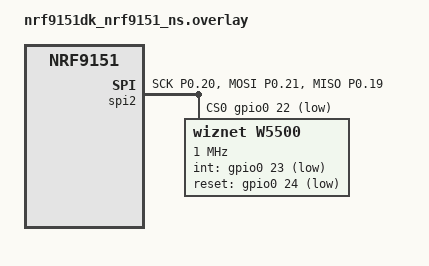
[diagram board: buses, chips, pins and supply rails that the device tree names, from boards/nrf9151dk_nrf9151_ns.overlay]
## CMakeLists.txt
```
cmake_minimum_required(VERSION 3.20.0)
find_package(Zephyr REQUIRED HINTS $ENV{ZEPHYR_BASE})

project(zephyr_socket_dispatching_eth_and_cell_example)

target_sources(app PRIVATE 
    src/main.c
    src/mqtt_api.c
    src/mqtt_custom_transport.c
)
```

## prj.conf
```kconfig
# Newlib
CONFIG_NEWLIB_LIBC=y

# Basic networking support
CONFIG_NETWORKING=y
CONFIG_NET_NATIVE=y
CONFIG_NET_IPV6=n
CONFIG_NET_IPV4=y
CONFIG_NET_TCP=y
CONFIG_NET_UDP=y
CONFIG_NET_DHCPV4=y
CONFIG_DNS_RESOLVER=y

# Socket APIs
CONFIG_NET_SOCKETS=y
CONFIG_POSIX_API=y

# Socket Dispatcher
CONFIG_NET_SOCKETS_OFFLOAD_DISPATCHER=y
CONFIG_NET_SOCKETS_OFFLOAD=y

# For Ethernet W5500
CONFIG_SPI=y # (I think) driver handles this
CONFIG_ETH_W5500=y
CONFIG_NET_L2_ETHERNET=y
CONFIG_ETH_W5500_TIMEOUT=1000

# For Cellular modem
CONFIG_MODEM=y
CONFIG_LTE_LINK_CONTROL=y
CONFIG_TRUSTED_EXECUTION_NONSECURE=y
CONFIG_NRF_MODEM_LIB=y # Requires TRUSTED_EXECUTION_NONSECURE
CONFIG_LTE_LINK_CONTROL=y # Requires the MODEM library https://github.com/nrfconnect/sdk-nrfxlib/blob/main//nrf_modem/doc/architecture.rst
CONFIG_LTE_NETWORK_MODE_LTE_M_NBIOT=y
CONFIG_LTE_LC_PSM_MODULE=y
CONFIG_LTE_LC_EDRX_MODULE=y 

# Testing and debugging
CONFIG_TEST_RANDOM_GENERATOR=y
CONFIG_INIT_STACKS=y
CONFIG_NET_SHELL=y
CONFIG_NET_STATISTICS=y #enable stats support showing in shell network diagnostics

# Logging
CONFIG_LOG=y
CONFIG_NET_LOG=y
# CONFIG_LOG_DEFAULT_LEVEL=4
# CONFIG_ETHERNET_LOG_LEVEL_DBG=y
# CONFIG_NET_TCP_LOG_LEVEL_DBG=y #enable TCP debugging logs 
# CONFIG_NET_DHCPV4_LOG_LEVEL_DBG=y
CONFIG_LOG_RUNTIME_FILTERING=y
CONFIG_NET_SOCKETS_LOG_LEVEL_DBG=y
CONFIG_NCS_BOOT_BANNER=y

# Thread stack size (guest-imated values)
CONFIG_MAIN_STACK_SIZE=4096
CONFIG_SYSTEM_WORKQUEUE_STACK_SIZE=2048
CONFIG_HEAP_MEM_POOL_SIZE=4096
CONFIG_NET_IF_MAX_IPV4_COUNT=4

# Other stuff (need to organize)
CONFIG_POSIX_MAX_FDS=8
CONFIG_NET_BUF_RX_COUNT=32
CONFIG_NET_BUF_TX_COUNT=32
CONFIG_NET_PKT_RX_COUNT=16
CONFIG_NET_PKT_TX_COUNT=16

## THIS IS ESSENTIAL FOR US TO USE CUSTOM TRANSPORT LAYER WITH MQTT 
CONFIG_MQTT_LIB=y
CONFIG_MQTT_LIB_CUSTOM_TRANSPORT=y
```

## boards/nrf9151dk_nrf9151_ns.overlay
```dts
/* boards/nrf9151dk_nrf9151_ns.overlay */

/* Disable any interfaces we're not using */
&i2c0 {
	status = "disabled";
};

&i2c2 {
	status = "disabled";
};

/* Add pinctrl configurations in the root devicetree node */
&pinctrl {
	spi2_default: spi2_default {
		group1 {
			psels = <NRF_PSEL(SPIM_SCK, 0, 20)>,  
			<NRF_PSEL(SPIM_MOSI, 0, 21)>, 
			<NRF_PSEL(SPIM_MISO, 0, 19)>; 
			// nordic,drive-mode = <NRF_DRIVE_H-1H1>;
		};
	};
	
	spi2_sleep: spi2_sleep {
		group1 {
			psels = <NRF_PSEL(SPIM_SCK, 0, 20)>,
			<NRF_PSEL(SPIM_MOSI, 0, 21)>,
			<NRF_PSEL(SPIM_MISO, 0, 19)>;
			low-power-enable;
		};
	};
};

/* Configure SPI2 for W5500 with non-conflicting pins */
&spi2 {
	compatible = "nordic,nrf-spim";
	status = "okay";
	pinctrl-0 = <&spi2_default>;
	pinctrl-1 = <&spi2_sleep>;
	pinctrl-names = "default", "sleep";
	cs-gpios = <&gpio0 22 GPIO_ACTIVE_LOW>; 
	
	w5500: w5500@0 {
		compatible = "wiznet,w5500";
		label="w5500";
		status = "okay";			
		reg = <0x0>;
		spi-max-frequency = <1000000>;
		int-gpios = <&gpio0 23 GPIO_ACTIVE_LOW>;  
		reset-gpios = <&gpio0 24 GPIO_ACTIVE_LOW>; 
		local-mac-address = [00 08 DC 00 00 01];
	};
};
```

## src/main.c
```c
/*
 * Socket Dispatcher Demo - Testing Multiple Network Interfaces with MQTT
 */

#include "mqtt_api.h"

#include <errno.h>
#include <fcntl.h> /* For O_NONBLOCK */
#include <modem/lte_lc.h>
#include <modem/nrf_modem_lib.h>
#include <stdio.h> // For snprintf
#include <string.h>
#include <zephyr/kernel.h>
#include <zephyr/logging/log.h>
#include <zephyr/net/net_if.h>
#include <zephyr/net/socket.h>

LOG_MODULE_REGISTER(socket_dispatcher_demo, LOG_LEVEL_INF);

/* Configuration */
#define UDP_SERVER_PORT 4242
#define UDP_SERVER_ADDR "8.8.8.8" /* Google's DNS server - easily accessible and accepts UDP */

#define TCP_SERVER_PORT 4242
#define TCP_SERVER_ADDR "45.79.112.203"

#define DNS_TEST_HOSTNAME "nordicsemi.com"

#define SOCKET_TIMEOUT_SEC 10
#define MODEM_CONN_TIMEOUT_SEC 60

/* LTE connection semaphore */
K_SEM_DEFINE(lte_connected, 0, 1);

/* Network interfaces */
#define IFACE_CELLULAR "net0"
#define IFACE_ETHERNET "eth0"

static struct net_mgmt_event_callback net_mgmt_cb;

/* LTE event handler */
static void lte_handler(const struct lte_lc_evt* const evt)
{
  if (evt->type == LTE_LC_EVT_NW_REG_STATUS)
  {
    if ((evt->nw_reg_status == LTE_LC_NW_REG_REGISTERED_HOME) ||
        (evt->nw_reg_status == LTE_LC_NW_REG_REGISTERED_ROAMING))
    {
      LOG_INF("Network registered");
      k_sem_give(&lte_connected);
    }
  }
}

/* Test a socket bound to a specific interface */
static int test_socket_binding(const char* iface_name)
{
  int          sock;
  int          ret;
  struct ifreq ifreq;

  LOG_INF("Testing socket creation on interface '%s'", iface_name);

  /* Create a socket */
  sock = socket(AF_INET, SOCK_DGRAM, IPPROTO_UDP);
  if (sock < 0)
  {
    LOG_ERR("Failed to create socket: %d", errno);
    return -errno;
  }

  /* Bind socket to interface */
  memset(&ifreq, 0, sizeof(ifreq));
  strncpy(ifreq.ifr_name, iface_name, sizeof(ifreq.ifr_name) - 1);

  ret = setsockopt(sock, SOL_SOCKET, SO_BINDTODEVICE, &ifreq, sizeof(ifreq));
  if (ret < 0)
  {
    LOG_ERR("Failed to bind socket to interface '%s': %d", iface_name, errno);
    close(sock);
    return -errno;
  }

  LOG_INF("Successfully created and bound socket to interface '%s'", iface_name);

  /* Close the socket */
  close(sock);
  LOG_INF("Socket closed");

  return 0;
}

/* Test UDP communication through specified interface */
static int test_udp(const char* iface_name)
{
  int                sock, ret;
  struct ifreq       ifreq;
  struct sockaddr_in remote_addr;
  char               send_buf[64]  = {0};
  char               recv_buf[128] = {0};

  snprintf(send_buf, sizeof(send_buf), "Hello from nRF9151 via %s!", iface_name);

  LOG_INF("Testing UDP through %s", iface_name);

  /* Create UDP socket */
  sock = socket(AF_INET, SOCK_DGRAM, IPPROTO_UDP);
  if (sock < 0)
  {
    LOG_ERR("Failed to create UDP socket: %d", errno);
    return -errno;
  }

  /* Bind to specified interface */
  memset(&ifreq, 0, sizeof(ifreq));
  strncpy(ifreq.ifr_name, iface_name, sizeof(ifreq.ifr_name) - 1);

  ret = setsockopt(sock, SOL_SOCKET, SO_BINDTODEVICE, &ifreq, sizeof(ifreq));
  if (ret < 0)
  {
    LOG_ERR("Failed to bind socket to %s interface: %d", iface_name, errno);
    close(sock);
    return -errno;
  }

  /* Try to set socket timeout - but handle if not supported */
  struct timeval timeout           = {.tv_sec = SOCKET_TIMEOUT_SEC, .tv_usec = 0};
  bool           timeout_supported = true;

  ret = setsockopt(sock, SOL_SOCKET, SO_RCVTIMEO, &timeout, sizeof(timeout));
  if (ret < 0)
  {
    if (errno == ENOPROTOOPT || errno == ENOTSUP)
    {
      LOG_WRN("Socket timeout not supported on %s, using poll() instead", iface_name);
      timeout_supported = false;
    }
    else
    {
      LOG_WRN("Failed to set receive timeout: %d", errno);
    }
  }

  /* Set up remote address */
  memset(&remote_addr, 0, sizeof(remote_addr));
  remote_addr.sin_family = AF_INET;
  remote_addr.sin_port   = htons(UDP_SERVER_PORT);

  ret = inet_pton(AF_INET, UDP_SERVER_ADDR, &remote_addr.sin_addr);
  if (ret != 1)
  {
    LOG_ERR("Invalid address: %s", UDP_SERVER_ADDR);
    close(sock);
    return -EINVAL;
  }

  /* Send data */
  LOG_INF("Sending UDP packet to %s:%d via %s", UDP_SERVER_ADDR, UDP_SERVER_PORT, iface_name);

  ret = sendto(
      sock, send_buf, strlen(send_buf), 0, (struct sockaddr*) &remote_addr, sizeof(remote_addr));

  if (ret < 0)
  {
    LOG_ERR("Failed to send data: %d", errno);
    close(sock);
    return -errno;
  }

  LOG_INF("Sent %d bytes", ret);

  /* Try to receive a response */
  LOG_INF("Waiting for response...");

  if (timeout_supported)
  {
    /* Use regular recv with timeout set via setsockopt */
    ret = recv(sock, recv_buf, sizeof(recv_buf) - 1, 0);

    if (ret < 0)
    {
      if (errno == EAGAIN || errno == EWOULDBLOCK)
      {
        LOG_INF("Timed out waiting for response (this is normal for DNS server)");
      }
      else
      {
        LOG_ERR("Failed to receive: %d", errno);
      }
    }
    else if (ret > 0)
    {
      recv_buf[ret] = '\0';
      LOG_INF("Received %d bytes: %s", ret, recv_buf);
    }
  }
  else
  {
    /* Use poll with manual timeout as a fallback */
    struct pollfd fds = {
        .fd     = sock,
        .events = POLLIN,
    };

    ret = poll(&fds, 1, SOCKET_TIMEOUT_SEC * 1000);

    if (ret < 0)
    {
      LOG_ERR("Poll error: %d", errno);
    }
    else if (ret == 0)
    {
      LOG_INF("Timed out waiting for response (this is normal for DNS server)");
    }
    else
    {
      ret = recv(sock, recv_buf, sizeof(recv_buf) - 1, 0);
      if (ret < 0)
      {
        LOG_ERR("Failed to receive data: %d", errno);
      }
      else if (ret > 0)
      {
        recv_buf[ret] = '\0';
        LOG_INF("Received %d bytes: %s", ret, recv_buf);
      }
    }
  }

  /* Close socket */
  close(sock);
  LOG_INF("UDP test on %s complete", iface_name);

  return 0;
}

/* Test DNS resolution through specified interface */
static int test_dns_query(const char* iface_name)
{
  int             sock, ret;
  struct ifreq    ifreq;
  struct addrinfo hints, *res;
  char            addr_str[INET6_ADDRSTRLEN];

  LOG_INF("Testing DNS resolution through %s", iface_name);

  /* Create socket (needed for DNS query) */
  sock = socket(AF_INET, SOCK_DGRAM, IPPROTO_UDP);
  if (sock < 0)
  {
    LOG_ERR("Failed to create socket: %d", errno);
    return -errno;
  }

  /* Bind to specified interface */
  memset(&ifreq, 0, sizeof(ifreq));
  strncpy(ifreq.ifr_name, iface_name, sizeof(ifreq.ifr_name) - 1);

  ret = setsockopt(sock, SOL_SOCKET, SO_BINDTODEVICE, &ifreq, sizeof(ifreq));
  if (ret < 0)
  {
    LOG_ERR("Failed to bind socket to %s interface: %d", iface_name, errno);
    close(sock);
    return -errno;
  }

  /* Perform DNS lookup */
  memset(&hints, 0, sizeof(hints));
  hints.ai_family   = AF_INET;
  hints.ai_socktype = SOCK_STREAM;

  LOG_INF("Resolving %s via %s...", DNS_TEST_HOSTNAME, iface_name);
  ret = getaddrinfo(DNS_TEST_HOSTNAME, NULL, &hints, &res);

  if (ret != 0)
  {
    LOG_ERR("getaddrinfo failed: %d", ret);
    close(sock);
    return -EIO;
  }

  /* Print resolved address */
  struct sockaddr_in* addr = (struct sockaddr_in*) res->ai_addr;
  inet_ntop(AF_INET, &addr->sin_addr, addr_str, sizeof(addr_str));

  LOG_INF("Resolved %s to %s via %s", DNS_TEST_HOSTNAME, addr_str, iface_name);

  /* Free addrinfo and close socket */
  freeaddrinfo(res);
  close(sock);

  LOG_INF("DNS test on %s complete", iface_name);
  return 0;
}

/* Test TCP communication through specified interface */
static int test_tcp(const char* iface_name)
{
  int                sock, ret;
  struct ifreq       ifreq;
  struct sockaddr_in remote_addr;
  char               send_buf[64]      = {0};
  char               recv_buf[128]     = {0};
  bool               timeout_supported = true;

  snprintf(send_buf, sizeof(send_buf), "Hello from nRF9151 via %s\n", iface_name);

  LOG_INF("Testing TCP through %s", iface_name);

  // Create socket of type TCP
  sock = socket(AF_INET, SOCK_STREAM, IPPROTO_TCP);
  if (sock < 0)
  {
    LOG_ERR("Failed to create TCP socket: %d", errno);
    return -errno;
  }

  // Bind socket to specified interface
  memset(&ifreq, 0, sizeof(ifreq));
  strncpy(ifreq.ifr_name, iface_name, sizeof(ifreq.ifr_name) - 1);

  ret = setsockopt(sock, SOL_SOCKET, SO_BINDTODEVICE, &ifreq, sizeof(ifreq));
  if (ret < 0)
  {
    LOG_ERR("Failed to bind socket to %s interface: %d", iface_name, errno);
    close(sock);
    return -errno;
  }

  // Try to set socket timeout
  struct timeval timeout = {.tv_sec = SOCKET_TIMEOUT_SEC, .tv_usec = 0};

  ret = setsockopt(sock, SOL_SOCKET, SO_RCVTIMEO, &timeout, sizeof(timeout));
  if (ret < 0)
  {
    if (errno == ENOPROTOOPT || errno == ENOTSUP)
    {
      LOG_WRN("Socket timeout not supported on %s, using poll() instead", iface_name);
      timeout_supported = false;
    }
    else
    {
      LOG_WRN("Failed to set timeout: %d", errno);
    }
  }

  // Try to set connect timeout (non-blocking connect with poll)
  // This is needed regardless of timeout support since connect() can block
  if (!timeout_supported)
  {
    int flags = fcntl(sock, F_GETFL, 0);
    if (flags < 0)
    {
      LOG_ERR("Failed to get socket flags: %d", errno);
      close(sock);
      return -errno;
    }

    ret = fcntl(sock, F_SETFL, flags | O_NONBLOCK);
    if (ret < 0)
    {
      LOG_ERR("Failed to set socket non-blocking: %d", errno);
      close(sock);
      return -errno;
    }
  }

  // Setup remote address
  memset(&remote_addr, 0, sizeof(remote_addr));
  remote_addr.sin_family = AF_INET;
  remote_addr.sin_port   = htons(TCP_SERVER_PORT);

  ret = inet_pton(AF_INET, TCP_SERVER_ADDR, &remote_addr.sin_addr);
  if (ret != 1)
  {
    LOG_ERR("Invalid address: %s", TCP_SERVER_ADDR);
    close(sock);
    return -EINVAL;
  }

  // Connect to server
  LOG_INF("Connecting to TCP server %s:%d via %s...", TCP_SERVER_ADDR, TCP_SERVER_PORT, iface_name);

  ret = connect(sock, (struct sockaddr*) &remote_addr, sizeof(remote_addr));

  if (ret < 0)
  {
    if (!timeout_supported && (errno == EINPROGRESS || errno == EAGAIN || errno == EWOULDBLOCK))
    {
      // This is expected for non-blocking connect - use poll to wait
      struct pollfd fds = {
          .fd     = sock,
          .events = POLLOUT,
      };

      ret = poll(&fds, 1, SOCKET_TIMEOUT_SEC * 1000);

      if (ret < 0)
      {
        LOG_ERR("Poll error during connect: %d", errno);
        close(sock);
        return -errno;
      }
      else if (ret == 0)
      {
        LOG_ERR("Connection timeout");
        close(sock);
        return -ETIMEDOUT;
      }
      else
      {
        // Check if connection was successful
        int       err;
        socklen_t err_len = sizeof(err);
        ret               = getsockopt(sock, SOL_SOCKET, SO_ERROR, &err, &err_len);

        if (ret < 0 || err != 0)
        {
          LOG_ERR("Connection failed: %d", err != 0 ? err : errno);
          close(sock);
          return -EIO;
        }

        // Set back to blocking mode for data transfer
        int flags = fcntl(sock, F_GETFL, 0);
        if (flags >= 0)
        {
          fcntl(sock, F_SETFL, flags & ~O_NONBLOCK);
        }
      }
    }
    else
    {
      LOG_ERR("Failed to connect to TCP server: %d", errno);
      close(sock);
      return -errno;
    }
  }

  LOG_INF("Connected to TCP server");

  // Send data
  ret = send(sock, send_buf, strlen(send_buf), 0);
  if (ret < 0)
  {
    LOG_ERR("Failed to send: %d", errno);
    close(sock);
    return -errno;
  }
  else
  {
    LOG_INF("Sent message to TCP server. Awaiting response...");
  }

  // Wait to receive response
  if (timeout_supported)
  {
    // Use regular recv with timeout set via setsockopt
    ret = recv(sock, recv_buf, sizeof(recv_buf) - 1, 0);

    if (ret < 0)
    {
      LOG_ERR("Failed to receive: %d", errno);
    }
    else if (ret > 0)
    {
      recv_buf[ret] = '\0';
      LOG_INF("Received %d bytes: %s", ret, recv_buf);
    }
    else
    {
      LOG_INF("Connection closed by server");
    }
  }
  else
  {
    // Use poll with manual timeout
    struct pollfd fds = {
        .fd     = sock,
        .events = POLLIN,
    };

    ret = poll(&fds, 1, SOCKET_TIMEOUT_SEC * 1000);

    if (ret < 0)
    {
      LOG_ERR("Poll error: %d", errno);
    }
    else if (ret == 0)
    {
      LOG_INF("Receive timeout");
    }
    else
    {
      ret = recv(sock, recv_buf, sizeof(recv_buf) - 1, 0);
      if (ret < 0)
      {
        LOG_ERR("Failed to receive data: %d", errno);
      }
      else if (ret > 0)
      {
        recv_buf[ret] = '\0';
        LOG_INF("Received %d bytes: %s", ret, recv_buf);
      }
      else
      {
        LOG_INF("Connection closed by server");
      }
    }
  }

  // Close socket
  close(sock);
  LOG_INF("TCP test on %s complete", iface_name);

  return 0;
}

/* Initialize modem */
static int init_modem(void)
{
  int err;

  LOG_INF("Initializing modem library");
  err = nrf_modem_lib_init();
  if (err)
  {
    LOG_ERR("Failed to initialize modem library: %d", err);
    return err;
  }

  LOG_INF("Connecting to LTE network asynchronously");
  err = lte_lc_connect_async(lte_handler);
  if (err)
  {
    LOG_ERR("Failed to initiate LTE connection: %d", err);
    return err;
  }

  LOG_INF("Waiting for LTE connection (%d seconds timeout)", MODEM_CONN_TIMEOUT_SEC);
  err = k_sem_take(&lte_connected, K_SECONDS(MODEM_CONN_TIMEOUT_SEC));
  if (err)
  {
    LOG_WRN("Timed out waiting for LTE connection");
    return -ETIMEDOUT;
  }

  LOG_INF("LTE connected successfully");
  return 0;
}

/* Print modem status information */
static void print_modem_status(void)
{
  int                       err;
  enum lte_lc_nw_reg_status reg_status;
  enum lte_lc_func_mode     func_mode;

  /* Get network registration status */
  err = lte_lc_nw_reg_status_get(&reg_status);
  if (err)
  {
    LOG_ERR("LTE: Failed to get network registration status: %d", err);
  }
  else
  {
    LOG_INF("LTE: Network registration status: %d", reg_status);
  }

  /* Get functional mode */
  err = lte_lc_func_mode_get(&func_mode);
  if (err)
  {
    LOG_ERR("Failed to get functional mode: %d", err);
  }
  else
  {
    LOG_INF("LTE: Functional mode: %d", func_mode);
  }

  /* Get system mode */
  enum lte_lc_system_mode            mode;
  enum lte_lc_system_mode_preference preference;

  err = lte_lc_system_mode_get(&mode, &preference);
  if (err)
  {
    LOG_ERR("LTE: Failed to get system mode: %d", err);
  }
  else
  {
    LOG_INF("LTE: System mode: %d, preference: %d", mode, preference);
  }
}

static void start_dhcpv4_client(struct net_if* iface, void* user_data)
{
  ARG_UNUSED(user_data);

  LOG_INF(
      "Starting DHCP on %s: index=%d", net_if_get_device(iface)->name, net_if_get_by_iface(iface));
  net_dhcpv4_start(iface);
}

static void print_dhcpv4_info(struct net_if* iface, int i)
{
  char buf[NET_IPV4_ADDR_LEN];

  LOG_INF("    Address[%d]: %s",
          net_if_get_by_iface(iface),
          net_addr_ntop(
              AF_INET, &iface->config.ip.ipv4->unicast[i].ipv4.address.in_addr, buf, sizeof(buf)));

  LOG_INF("    Subnet[%d]: %s",
          net_if_get_by_iface(iface),
          net_addr_ntop(AF_INET, &iface->config.ip.ipv4->unicast[i].netmask, buf, sizeof(buf)));

  LOG_INF("    Router[%d]: %s",
          net_if_get_by_iface(iface),
          net_addr_ntop(AF_INET, &iface->config.ip.ipv4->gw, buf, sizeof(buf)));

  if (iface->config.dhcpv4.lease_time)
  {
    LOG_INF(
        "Lease time[%d]: %u seconds", net_if_get_by_iface(iface), iface->config.dhcpv4.lease_time);
  }
}

static void
network_mgmt_handler(struct net_mgmt_event_callback* cb, uint32_t mgmt_event, struct net_if* iface)
{
  int i = 0;

  if (mgmt_event != NET_EVENT_IPV4_ADDR_ADD)
  {
    return;
  }

  LOG_INF("IPv4 address added to interface %d", net_if_get_by_iface(iface));

  for (i = 0; i < NET_IF_MAX_IPV4_ADDR; i++)
  {
    if (iface->config.ip.ipv4->unicast[i].ipv4.addr_type != NET_ADDR_DHCP)
    {
      continue;
    }
    print_dhcpv4_info(iface, i);
  }
}

/* Run all tests for a given interface */
static void run_interface_tests(const char* iface_name)
{
  int err;

  LOG_INF("==========================================");
  LOG_INF("Starting tests for interface: %s", iface_name);
  LOG_INF("==========================================");

  /* Test socket binding */
  err = test_socket_binding(iface_name);
  if (err)
  {
    LOG_WRN("Socket binding test for %s failed: %d", iface_name, err);
    /* Continue with other tests anyway */
  }

  /* Test UDP communication */
  err = test_udp(iface_name);
  if (err)
  {
    LOG_WRN("UDP test for %s failed: %d", iface_name, err);
  }

  /* Test DNS resolution */
  err = test_dns_query(iface_name);
  if (err)
  {
    LOG_WRN("DNS test for %s failed: %d", iface_name, err);
  }

  /* Test TCP communication */
  err = test_tcp(iface_name);
  if (err)
  {
    LOG_WRN("TCP test for %s failed: %d", iface_name, err);
  }

  LOG_INF("==========================================");
  LOG_INF("Tests for interface %s completed", iface_name);
  LOG_INF("==========================================\n");
}

/* Test MQTT functionality on specified interface */
static int test_mqtt_interface(const char* iface_name)
{
  int      err;
  uint32_t message_counter = 0;

  LOG_INF("==========================================");
  LOG_INF("Starting MQTT test on interface: %s", iface_name);
  LOG_INF("==========================================");

  /* Test basic socket binding first */
  err = test_socket_binding(iface_name);
  if (err)
  {
    LOG_ERR("Socket binding test failed for %s: %d", iface_name, err);
    return err;
  }

  /* Connect to MQTT broker */
  err = mqtt_api_connect(iface_name);
  if (err)
  {
    LOG_ERR("Failed to connect to MQTT broker via %s: %d", iface_name, err);
    return err;
  }

  LOG_INF("MQTT connected successfully via %s", iface_name);

  /* Publish a few test messages */
  for (int i = 0; i < 3; i++)
  {
    err = mqtt_api_publish_status(++message_counter);
    if (err)
    {
      LOG_ERR("Failed to publish message %d: %d", message_counter, err);
    }
    else
    {
      LOG_INF("Published message %d successfully", message_counter);
    }

    /* Process MQTT input and keepalive */
    mqtt_api_process_input();
    mqtt_api_handle_keepalive();

    /* Wait between messages */
    k_sleep(K_SECONDS(5));
  }

  LOG_INF("==========================================");
  LOG_INF("MQTT test on interface %s completed", iface_name);
  LOG_INF("==========================================\n");

  return 0;
}

int main(void)
{
  int      err;
  uint32_t publish_counter   = 0;
  uint64_t next_publish_time = 0;

  LOG_INF("Socket Dispatcher Demo - Testing Multiple Network Interfaces with MQTT");
  k_msleep(1000);

  /* Initialize MQTT API */
  err = mqtt_api_init();
  if (err)
  {
    LOG_ERR("Failed to initialize MQTT API: %d", err);
    return err;
  }

  /* Setup DHCP for all interfaces */
  struct net_if* iface = net_if_get_default();
  net_mgmt_init_event_callback(&net_mgmt_cb, network_mgmt_handler, NET_EVENT_IPV4_ADDR_ADD);
  net_mgmt_add_event_callback(&net_mgmt_cb);
  start_dhcpv4_client(iface, NULL);

  /* Initialize modem */
  err = init_modem();
  if (err)
  {
    LOG_WRN("Modem initialization failed or timed out: %d", err);
    LOG_INF("Continuing with Ethernet interface only...");
  }
  else
  {
    /* Print modem status */
    print_modem_status();
  }

  /* Wait for interfaces to initialize and get IP addresses */
  LOG_INF("Waiting for interfaces to initialize...");
  k_sleep(K_SECONDS(5));

  // /* Run basic interface tests on cellular if available */
  // if (err == 0)
  // {
  //   run_interface_tests(IFACE_CELLULAR);
  // }

  // /* Run basic interface tests on Ethernet */
  // run_interface_tests(IFACE_ETHERNET);

  /* Test MQTT on Ethernet interface */
  LOG_INF("\n*** Starting MQTT Demo ***");
  err = test_mqtt_interface(IFACE_ETHERNET);
  if (err)
  {
    LOG_ERR("MQTT test failed on Ethernet interface: %d", err);
  }

  return 0;
}
```

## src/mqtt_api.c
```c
/*
 * MQTT API Implementation
 * Provides interface for MQTT operations with interface binding support
 */

#include "mqtt_api.h"

#include "mqtt_custom_transport.h"

#include <errno.h>
#include <stdio.h>
#include <string.h>
#include <zephyr/kernel.h>
#include <zephyr/logging/log.h>
#include <zephyr/net/net_if.h>
#include <zephyr/net/socket.h>
#include <zephyr/random/random.h>

LOG_MODULE_REGISTER(mqtt_api, LOG_LEVEL_DBG);

/* MQTT Configuration */
#define MQTT_CLIENT_ID_PREFIX "nrf9151_demo"
#define MQTT_KEEPALIVE_SEC 60
#define MQTT_CLEAN_SESSION 1
#define MQTT_RX_BUFFER_SIZE 512
#define MQTT_TX_BUFFER_SIZE 512
#define MQTT_PAYLOAD_BUFFER_SIZE 256

/* MQTT Client State */
static struct mqtt_client           mqtt_client_ctx;
static struct custom_transport_data mqtt_transport_data;
static bool                         mqtt_connected              = false;
static char                         current_interface[IFNAMSIZ] = {0};

/* MQTT Buffers */
static uint8_t mqtt_rx_buffer[MQTT_RX_BUFFER_SIZE];
static uint8_t mqtt_tx_buffer[MQTT_TX_BUFFER_SIZE];
static uint8_t mqtt_payload_buffer[MQTT_PAYLOAD_BUFFER_SIZE];

/* Semaphores */
static K_SEM_DEFINE(mqtt_conn_sem, 0, 1);

/**
 * @brief Generate unique client ID based on device info
 */
static void generate_client_id(char* client_id, size_t max_len)
{
  /* Try to use MAC address from default interface */
  struct net_if* iface = net_if_get_default();

  if (iface && iface->if_dev && iface->if_dev->link_addr.addr)
  {
    const uint8_t* mac = iface->if_dev->link_addr.addr;
    snprintf(client_id, max_len, "%s_%02x%02x%02x", MQTT_CLIENT_ID_PREFIX, mac[3], mac[4], mac[5]);
  }
  else
  {
    /* Fallback to random ID */
    snprintf(client_id, max_len, "%s_%08x", MQTT_CLIENT_ID_PREFIX, sys_rand32_get());
  }

  LOG_INF("Generated MQTT client ID: %s", client_id);
}

/**
 * @brief MQTT event handler
 */
static void mqtt_evt_handler(struct mqtt_client* client, const struct mqtt_evt* evt)
{
  LOG_INF("MQTT event received: type=%d, result=%d", evt->type, evt->result);

  switch (evt->type)
  {
    case MQTT_EVT_CONNACK:
      if (evt->result == 0)
      {
        LOG_INF("MQTT client connected successfully!");
        mqtt_connected = true;
        k_sem_give(&mqtt_conn_sem);
      }
      else
      {
        LOG_ERR("MQTT connection rejected by broker: %d", evt->result);
        mqtt_connected = false;
        k_sem_give(&mqtt_conn_sem); // Still signal to unblock waiting thread
      }
      break;

    case MQTT_EVT_DISCONNECT:
      LOG_WRN("MQTT client disconnected: %d", evt->result);
      mqtt_connected = false;
      k_sem_take(&mqtt_conn_sem, K_NO_WAIT); // Reset semaphore
      break;

    case MQTT_EVT_PUBLISH:
      LOG_INF("MQTT publish received on topic");
      /* Note: Payload needs to be read separately with mqtt_read_publish_payload */
      break;

    case MQTT_EVT_PUBACK:
      LOG_DBG("MQTT PUBACK received for message ID: %d", evt->param.puback.message_id);
      break;

    case MQTT_EVT_SUBACK:
      LOG_INF("MQTT SUBACK received for message ID: %d", evt->param.suback.message_id);
      break;

    case MQTT_EVT_PINGRESP:
      LOG_DBG("MQTT PINGRESP received");
      break;

    default:
      LOG_DBG("MQTT event type: %d", evt->type);
      break;
  }
}

/**
 * @brief Setup broker address from hostname or IP
 */
static int
setup_broker_address(struct sockaddr_in* broker_addr, const char* hostname, uint16_t port)
{
  /* First try to parse as IP address directly */
  memset(broker_addr, 0, sizeof(*broker_addr));
  broker_addr->sin_family = AF_INET;
  broker_addr->sin_port   = htons(port);

  int ret = inet_pton(AF_INET, hostname, &broker_addr->sin_addr);
  if (ret == 1)
  {
    /* Successfully parsed as IP address */
    char addr_str[INET_ADDRSTRLEN];
    inet_ntop(AF_INET, &broker_addr->sin_addr, addr_str, sizeof(addr_str));
    LOG_INF("Using IP address %s:%d for broker", addr_str, port);
    return 0;
  }

  /* Not an IP address, try DNS resolution */
  struct addrinfo hints, *result;
  memset(&hints, 0, sizeof(hints));
  hints.ai_family   = AF_INET;
  hints.ai_socktype = SOCK_STREAM;

  ret = getaddrinfo(hostname, NULL, &hints, &result);
  if (ret != 0)
  {
    LOG_ERR("getaddrinfo failed for %s: %d", hostname, ret);

    /* Fallback to hardcoded IP for broker.hivemq.com */
    if (strcmp(hostname, "broker.hivemq.com") == 0)
    {
      LOG_WRN("DNS failed, using fallback IP 18.185.216.207 for broker.hivemq.com");
      ret = inet_pton(AF_INET, "18.185.216.207", &broker_addr->sin_addr);
      if (ret == 1)
      {
        return 0;
      }
    }

    return -EHOSTUNREACH;
  }

  if (result == NULL)
  {
    LOG_ERR("No addresses found for %s", hostname);
    return -ENOENT;
  }

  /* Copy the resolved address */
  memcpy(broker_addr, result->ai_addr, sizeof(struct sockaddr_in));
  broker_addr->sin_port = htons(port);

  char addr_str[INET_ADDRSTRLEN];
  inet_ntop(AF_INET, &broker_addr->sin_addr, addr_str, sizeof(addr_str));
  LOG_INF("Resolved %s to %s:%d", hostname, addr_str, port);

  freeaddrinfo(result);
  return 0;
}

int mqtt_api_init(void)
{
  LOG_INF("Initializing MQTT API");

  /* Reset connection state */
  mqtt_connected = false;
  memset(current_interface, 0, sizeof(current_interface));

  LOG_INF("MQTT API initialized successfully");
  return 0;
}

int mqtt_api_connect(const char* interface_name)
{
  int                       ret;
  static struct sockaddr_in broker_addr;
  static char               client_id[64];

  if (interface_name == NULL)
  {
    LOG_ERR("Invalid interface name");
    return -EINVAL;
  }

  if (mqtt_connected)
  {
    LOG_WRN("MQTT already connected, disconnecting first");
    mqtt_api_disconnect();
  }

  LOG_INF("Connecting to MQTT broker via interface: %s", interface_name);

  /* Setup broker address */
  ret = setup_broker_address(&broker_addr, MQTT_BROKER_HOSTNAME, MQTT_BROKER_PORT);
  if (ret)
  {
    LOG_ERR("Failed to setup broker address: %d", ret);
    return ret;
  }

  /* Initialize MQTT client with custom transport */
  ret = mqtt_client_init_with_interface(&mqtt_client_ctx, interface_name, &mqtt_transport_data);
  if (ret)
  {
    LOG_ERR("Failed to initialize MQTT client: %d", ret);
    return ret;
  }

  /* Generate client ID */
  generate_client_id(client_id, sizeof(client_id));

  /* Configure MQTT client parameters */
  mqtt_client_ctx.broker           = (struct sockaddr*) &broker_addr;
  mqtt_client_ctx.evt_cb           = mqtt_evt_handler;
  mqtt_client_ctx.client_id.utf8   = (uint8_t*) client_id;
  mqtt_client_ctx.client_id.size   = strlen(client_id);
  mqtt_client_ctx.protocol_version = MQTT_VERSION_3_1_1;
  mqtt_client_ctx.clean_session    = MQTT_CLEAN_SESSION;
  mqtt_client_ctx.keepalive        = MQTT_KEEPALIVE_SEC;

  /* Optional: Set user credentials (leave NULL for anonymous) */
  mqtt_client_ctx.user_name = NULL;
  mqtt_client_ctx.password  = NULL;

  /* Set up buffers */
  mqtt_client_ctx.rx_buf      = mqtt_rx_buffer;
  mqtt_client_ctx.rx_buf_size = sizeof(mqtt_rx_buffer);
  mqtt_client_ctx.tx_buf      = mqtt_tx_buffer;
  mqtt_client_ctx.tx_buf_size = sizeof(mqtt_tx_buffer);

  /* Connect to broker */
  LOG_INF("Sending MQTT CONNECT packet to broker...");
  ret = mqtt_connect(&mqtt_client_ctx);
  if (ret)
  {
    LOG_ERR("Failed to initiate MQTT connection: %d", ret);
    return ret;
  }

  /* Wait for connection to complete with longer timeout */
  LOG_INF("Waiting for MQTT CONNACK...");

  /* Process MQTT input while waiting for CONNACK */
  for (int i = 0; i < 60; i++)
  { // Wait up to 60 seconds
    /* Process any incoming MQTT messages */
    mqtt_input(&mqtt_client_ctx);

    /* Check if we got the CONNACK */
    if (k_sem_take(&mqtt_conn_sem, K_MSEC(100)) == 0)
    {
      /* Got CONNACK, check if connection was successful */
      if (mqtt_connected)
      {
        break;
      }
      else
      {
        LOG_ERR("MQTT connection was rejected by broker");
        return -ECONNREFUSED;
      }
    }

    /* Small delay between checks */
    k_sleep(K_MSEC(900)); // Total 1 second per loop
  }

  if (!mqtt_connected)
  {
    LOG_ERR("MQTT connection timeout - no CONNACK received");
    mqtt_api_disconnect(); // Clean up
    return -ETIMEDOUT;
  }

  /* Store current interface */
  strncpy(current_interface, interface_name, sizeof(current_interface) - 1);

  LOG_INF("MQTT connected successfully via interface: %s", interface_name);
  return 0;
}

int mqtt_api_disconnect(void)
{
  int ret;

  if (!mqtt_connected)
  {
    LOG_WRN("MQTT not connected");
    return 0;
  }

  LOG_INF("Disconnecting from MQTT broker");

  ret = mqtt_disconnect(&mqtt_client_ctx, NULL);
  if (ret)
  {
    LOG_ERR("Failed to disconnect from MQTT broker: %d", ret);
  }

  mqtt_connected = false;
  memset(current_interface, 0, sizeof(current_interface));

  LOG_INF("MQTT disconnected");
  return ret;
}

bool mqtt_api_is_connected(void)
{
  return mqtt_connected;
}

int mqtt_api_publish(const char*    topic,
                     const uint8_t* payload,
                     size_t         payload_len,
                     enum mqtt_qos  qos)
{
  int                       ret;
  struct mqtt_publish_param param;
  static uint16_t           message_id = 1;

  if (!mqtt_connected)
  {
    LOG_ERR("MQTT not connected");
    return -ENOTCONN;
  }

  if (topic == NULL || payload == NULL)
  {
    LOG_ERR("Invalid parameters");
    return -EINVAL;
  }

  /* Set up publish parameters */
  memset(&param, 0, sizeof(param));
  param.message.topic.topic.utf8 = (uint8_t*) topic;
  param.message.topic.topic.size = strlen(topic);
  param.message.topic.qos        = qos;
  param.message.payload.data     = (uint8_t*) payload;
  param.message.payload.len      = payload_len;
  param.message_id               = message_id++;
  param.dup_flag                 = 0;
  param.retain_flag              = 0;

  LOG_INF("Publishing message to topic '%s' (QoS %d, %zu bytes)", topic, qos, payload_len);
  LOG_DBG("Payload: %.*s", (int) payload_len, payload);

  ret = mqtt_publish(&mqtt_client_ctx, &param);
  if (ret)
  {
    LOG_ERR("Failed to publish MQTT message: %d", ret);
    return ret;
  }

  LOG_INF("Message published successfully (ID: %d)", param.message_id);
  return 0;
}

int mqtt_api_publish_status(uint32_t message_id)
{
  char payload[128];
  int  len;

  if (!mqtt_connected)
  {
    LOG_ERR("MQTT not connected");
    return -ENOTCONN;
  }

  /* Create JSON status message */
  len = snprintf(payload,
                 sizeof(payload),
                 "{"
                 "\"message_id\":%u,"
                 "\"timestamp\":%lld,"
                 "\"device\":\"nRF9151\","
                 "\"interface\":\"%s\","
                 "\"uptime\":%lld,"
                 "}",
                 message_id,
                 k_uptime_get(),
                 current_interface,
                 k_uptime_get() / 1000);

  if (len >= sizeof(payload))
  {
    LOG_WRN("Status message truncated");
    len = sizeof(payload) - 1;
  }

  char topic[32];
  snprintf(topic, sizeof(topic), "%s/status", MQTT_TOPIC_PREFIX);

  return mqtt_api_publish(topic, (uint8_t*) payload, len, MQTT_QOS_1_AT_LEAST_ONCE);
}

int mqtt_api_process_input(void)
{
  int ret;

  if (!mqtt_connected)
  {
    return -ENOTCONN;
  }

  ret = mqtt_input(&mqtt_client_ctx);
  if (ret && ret != -EAGAIN)
  {
    LOG_ERR("MQTT input error: %d", ret);
    mqtt_connected = false;
  }

  return ret;
}

int mqtt_api_handle_keepalive(void)
{
  int ret;

  if (!mqtt_connected)
  {
    return -ENOTCONN;
  }

  ret = mqtt_live(&mqtt_client_ctx);
  if (ret && ret != -EAGAIN)
  {
    LOG_ERR("MQTT keepalive error: %d", ret);
    mqtt_connected = false;
  }

  return ret;
}

const char* mqtt_api_get_interface(void)
{
  if (!mqtt_connected || strlen(current_interface) == 0)
  {
    return NULL;
  }
  return current_interface;
}
```

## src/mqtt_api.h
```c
/*
 * MQTT API Header
 * Provides interface for MQTT operations with interface binding support
 */

#pragma once

#include <stdbool.h>
#include <stdint.h>
#include <zephyr/net/mqtt.h>

/* MQTT Configuration */
#define MQTT_BROKER_HOSTNAME "broker.hivemq.com"
#define MQTT_BROKER_PORT 1883
#define MQTT_TOPIC_PREFIX "nrf9151/demo"
#define MQTT_PUBLISH_INTERVAL_SEC 30

/* MQTT API Functions */

/**
 * @brief Initialize MQTT subsystem
 *
 * @return 0 on success, negative error code on failure
 */
int mqtt_api_init(void);

/**
 * @brief Connect to MQTT broker using specified interface
 *
 * @param interface_name Network interface name (e.g., "eth0", "net0")
 * @return 0 on success, negative error code on failure
 */
int mqtt_api_connect(const char* interface_name);

/**
 * @brief Disconnect from MQTT broker
 *
 * @return 0 on success, negative error code on failure
 */
int mqtt_api_disconnect(void);

/**
 * @brief Check if MQTT client is connected
 *
 * @return true if connected, false otherwise
 */
bool mqtt_api_is_connected(void);

/**
 * @brief Publish a message to a topic
 *
 * @param topic Topic to publish to
 * @param payload Message payload
 * @param payload_len Length of payload
 * @param qos Quality of Service level
 * @return 0 on success, negative error code on failure
 */
int mqtt_api_publish(const char*    topic,
                     const uint8_t* payload,
                     size_t         payload_len,
                     enum mqtt_qos  qos);

/**
 * @brief Publish a JSON formatted device status message
 *
 * @param message_id Unique message identifier
 * @return 0 on success, negative error code on failure
 */
int mqtt_api_publish_status(uint32_t message_id);

/**
 * @brief Process MQTT input (should be called regularly)
 *
 * @return 0 on success, negative error code on failure
 */
int mqtt_api_process_input(void);

/**
 * @brief Handle MQTT keepalive (should be called regularly)
 *
 * @return 0 on success, negative error code on failure
 */
int mqtt_api_handle_keepalive(void);

/**
 * @brief Get the current interface name being used
 *
 * @return Interface name string, or NULL if not connected
 */
const char* mqtt_api_get_interface(void);
```

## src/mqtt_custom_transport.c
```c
/*
 * Custom MQTT Transport with Interface Binding
 *
 * This implementation provides the required custom transport functions
 * for Zephyr MQTT library with interface binding support.
 *
 * To use this:
 * 1. Enable CONFIG_MQTT_LIB_CUSTOM_TRANSPORT in your project configuration
 * 2. Set client->transport.type = MQTT_TRANSPORT_CUSTOM
 * 3. Store interface name in client->transport.custom_transport_data
 */

#include "mqtt_custom_transport.h"

#include <zephyr/logging/log.h>

LOG_MODULE_REGISTER(mqtt_custom_transport, CONFIG_MQTT_LOG_LEVEL);

// NOTE - MUST BE DEFINED IN HEADER SO OTHER CODE CAN USE THIS STRUCT
// /* Structure to hold our custom transport data */
// struct custom_transport_data
// {
//   int  sock;
//   char interface_name[IFNAMSIZ];
// };

/**
 * Custom transport connect function with interface binding
 * This function is called by the MQTT library when transport.type = MQTT_TRANSPORT_CUSTOM
 */
int mqtt_client_custom_transport_connect(struct mqtt_client* client)
{
  if (client == NULL)
  {
    LOG_ERR("MQTT client is NULL");
    return -EINVAL;
  }

  const struct sockaddr* broker = client->broker;
  if (broker == NULL)
  {
    LOG_ERR("Broker address is NULL");
    return -EINVAL;
  }

  struct custom_transport_data* custom_data =
      (struct custom_transport_data*) client->transport.custom_transport_data;

  if (custom_data == NULL)
  {
    LOG_ERR("Custom transport data not initialized");
    return -EINVAL;
  }

  LOG_INF("Creating custom transport connection to broker with interface: %s",
          custom_data->interface_name);

  // Create socket
  int sock = zsock_socket(broker->sa_family, SOCK_STREAM, IPPROTO_TCP);
  if (sock < 0)
  {
    LOG_ERR("Failed to create socket: %d", errno);
    return -errno;
  }

  LOG_DBG("Created socket: %d", sock);

  // Bind socket to specified interface
  struct ifreq ifreq;
  memset(&ifreq, 0, sizeof(ifreq));
  strncpy(ifreq.ifr_name, custom_data->interface_name, sizeof(ifreq.ifr_name) - 1);

  int ret = zsock_setsockopt(sock, SOL_SOCKET, SO_BINDTODEVICE, &ifreq, sizeof(ifreq));
  if (ret < 0)
  {
    LOG_ERR("Failed to bind socket to interface %s: %d", custom_data->interface_name, errno);
    zsock_close(sock);
    return -errno;
  }

  LOG_DBG("Successfully bound socket %d to interface: %s", sock, custom_data->interface_name);

  // Connect to broker
  size_t peer_addr_size = sizeof(struct sockaddr_in6);
  if (broker->sa_family == AF_INET)
  {
    peer_addr_size = sizeof(struct sockaddr_in);
  }

  ret = zsock_connect(sock, broker, peer_addr_size);
  if (ret < 0)
  {
    LOG_ERR("Failed to connect to broker: %d", errno);
    zsock_close(sock);
    return -errno;
  }

  // Store the socket in our custom data
  custom_data->sock = sock;

  LOG_INF("Successfully connected to MQTT broker via interface %s (socket %d)",
          custom_data->interface_name,
          sock);

  return 0;
}

/**
 * Custom transport write function
 */
int mqtt_client_custom_transport_write(struct mqtt_client* client,
                                       const uint8_t*      data,
                                       uint32_t            datalen)
{
  if (client == NULL || data == NULL)
  {
    return -EINVAL;
  }

  struct custom_transport_data* custom_data =
      (struct custom_transport_data*) client->transport.custom_transport_data;

  if (custom_data == NULL || custom_data->sock < 0)
  {
    LOG_ERR("Invalid custom transport data or socket");
    return -EINVAL;
  }

  uint32_t offset = 0U;
  int      ret;

  while (offset < datalen)
  {
    ret = zsock_send(custom_data->sock, data + offset, datalen - offset, 0);
    if (ret < 0)
    {
      LOG_ERR("Socket send failed: %d", errno);
      return -errno;
    }
    offset += ret;
  }

  LOG_DBG("Sent %u bytes via custom transport", datalen);
  return 0;
}

/**
 * Custom transport write message function
 */
int mqtt_client_custom_transport_write_msg(struct mqtt_client* client, const struct msghdr* message)
{
  if (client == NULL || message == NULL)
  {
    return -EINVAL;
  }

  struct custom_transport_data* custom_data =
      (struct custom_transport_data*) client->transport.custom_transport_data;

  if (custom_data == NULL || custom_data->sock < 0)
  {
    LOG_ERR("Invalid custom transport data or socket");
    return -EINVAL;
  }

  int    ret, i;
  size_t offset    = 0;
  size_t total_len = 0;

  // Calculate total message length
  for (i = 0; i < message->msg_iovlen; i++)
  {
    total_len += message->msg_iov[i].iov_len;
  }

  while (offset < total_len)
  {
    ret = zsock_sendmsg(custom_data->sock, message, 0);
    if (ret < 0)
    {
      LOG_ERR("Socket sendmsg failed: %d", errno);
      return -errno;
    }
    offset += ret;
    if (offset >= total_len)
    {
      break;
    }

    /* Update msghdr for the next iteration. */
    for (i = 0; i < message->msg_iovlen; i++)
    {
      if (ret < message->msg_iov[i].iov_len)
      {
        message->msg_iov[i].iov_len -= ret;
        message->msg_iov[i].iov_base = (uint8_t*) message->msg_iov[i].iov_base + ret;
        break;
      }
      ret -= message->msg_iov[i].iov_len;
      message->msg_iov[i].iov_len = 0;
    }
  }

  LOG_DBG("Sent message (%zu bytes) via custom transport", total_len);
  return 0;
}

/**
 * Custom transport read function
 */
int mqtt_client_custom_transport_read(struct mqtt_client* client,
                                      uint8_t*            data,
                                      uint32_t            buflen,
                                      bool                shall_block)
{
  if (client == NULL || data == NULL)
  {
    return -EINVAL;
  }

  struct custom_transport_data* custom_data =
      (struct custom_transport_data*) client->transport.custom_transport_data;

  if (custom_data == NULL || custom_data->sock < 0)
  {
    LOG_ERR("Invalid custom transport data or socket");
    return -EINVAL;
  }

  int flags = 0;
  if (!shall_block)
  {
    flags |= ZSOCK_MSG_DONTWAIT;
  }

  int ret = zsock_recv(custom_data->sock, data, buflen, flags);
  if (ret < 0)
  {
    if (errno != EAGAIN && errno != EWOULDBLOCK)
    {
      LOG_ERR("Socket recv failed: %d", errno);
    }
    return -errno;
  }

  if (ret > 0)
  {
    LOG_DBG("Received %d bytes via custom transport", ret);
  }

  return ret;
}

/**
 * Custom transport disconnect function
 */
int mqtt_client_custom_transport_disconnect(struct mqtt_client* client)
{
  if (client == NULL)
  {
    return -EINVAL;
  }

  struct custom_transport_data* custom_data =
      (struct custom_transport_data*) client->transport.custom_transport_data;

  if (custom_data == NULL)
  {
    LOG_WRN("Custom transport data is NULL during disconnect");
    return 0; // Not an error, might already be cleaned up
  }

  if (custom_data->sock >= 0)
  {
    LOG_INF("Closing custom transport socket %d", custom_data->sock);

    int ret = zsock_close(custom_data->sock);
    if (ret < 0)
    {
      LOG_ERR("Failed to close socket: %d", errno);
      return -errno;
    }

    custom_data->sock = -1;
  }

  return 0;
}

/* Helper functions for easier usage */

/**
 * Initialize MQTT client with custom interface-bound transport
 */
int mqtt_client_init_with_interface(struct mqtt_client*           client,
                                    const char*                   interface_name,
                                    struct custom_transport_data* transport_data)
{
  if (client == NULL || interface_name == NULL || transport_data == NULL)
  {
    LOG_ERR("Invalid parameters for interface initialization");
    return -EINVAL;
  }

  // Initialize the MQTT client normally
  mqtt_client_init(client);

  // Set up our custom transport data
  memset(transport_data, 0, sizeof(struct custom_transport_data));
  strncpy(
      transport_data->interface_name, interface_name, sizeof(transport_data->interface_name) - 1);
  transport_data->sock = -1;

  // Configure client to use custom transport
  client->transport.type                  = MQTT_TRANSPORT_CUSTOM;
  client->transport.custom_transport_data = transport_data;

  LOG_INF("MQTT client initialized with interface binding to: %s", interface_name);

  return 0;
}

/**
 * Connect MQTT client using custom interface-bound transport
 *
 * This function can be used as a drop-in replacement for mqtt_connect()
 * when you want interface binding.
 */
int mqtt_connect_with_interface(struct mqtt_client* client, const char* interface_name)
{
  if (client == NULL || interface_name == NULL)
  {
    LOG_ERR("Invalid parameters for interface connection");
    return -EINVAL;
  }

  // Allocate transport data (you might want to make this static or part of client)
  static struct custom_transport_data transport_data;

  // Initialize custom transport
  int ret = mqtt_client_init_with_interface(client, interface_name, &transport_data);
  if (ret < 0)
  {
    LOG_ERR("Failed to initialize client with interface: %d", ret);
    return ret;
  }

  // Now call the normal MQTT connect - it will use our custom transport
  ret = mqtt_connect(client);
  if (ret < 0)
  {
    LOG_ERR("MQTT connect failed: %d", ret);
    return ret;
  }

  LOG_INF("MQTT connected successfully with interface binding to %s", interface_name);
  return 0;
}
```

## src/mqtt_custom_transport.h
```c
#pragma once

#include <errno.h>
#include <string.h>
#include <zephyr/logging/log.h>
#include <zephyr/net/mqtt.h>
#include <zephyr/net/socket.h>

/* Structure to hold our custom transport data */
struct custom_transport_data
{
  int  sock;
  char interface_name[IFNAMSIZ];
};

int mqtt_client_custom_transport_connect(struct mqtt_client* client);

int mqtt_client_custom_transport_write(struct mqtt_client* client,
                                       const uint8_t*      data,
                                       uint32_t            datalen);

int mqtt_client_custom_transport_write_msg(struct mqtt_client*  client,
                                           const struct msghdr* message);

int mqtt_client_custom_transport_read(struct mqtt_client* client,
                                      uint8_t*            data,
                                      uint32_t            buflen,
                                      bool                shall_block);

int mqtt_client_custom_transport_disconnect(struct mqtt_client* client);

int mqtt_client_init_with_interface(struct mqtt_client*           client,
                                    const char*                   interface_name,
                                    struct custom_transport_data* transport_data);

int mqtt_connect_with_interface(struct mqtt_client* client, const char* interface_name);
```
